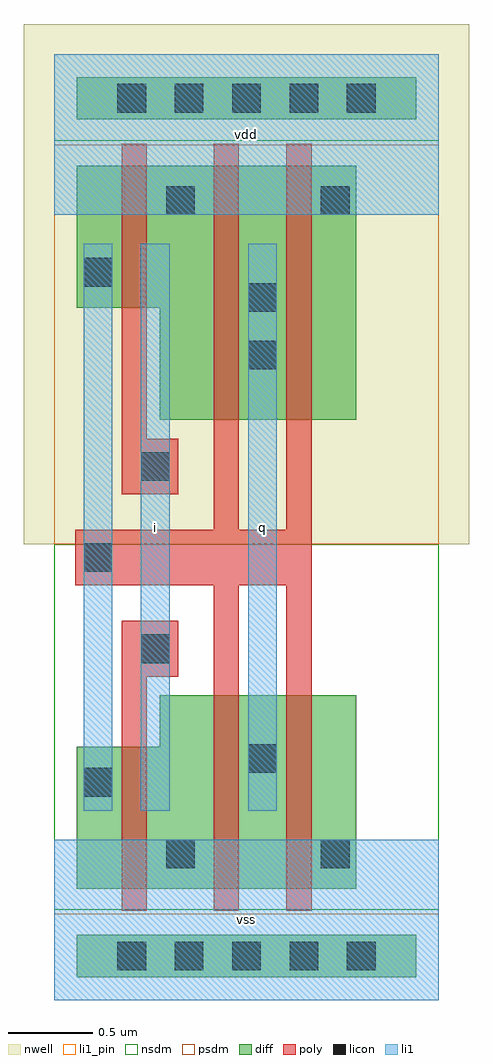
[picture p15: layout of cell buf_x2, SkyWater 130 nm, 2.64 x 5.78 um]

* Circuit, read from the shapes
.subckt buf_x2 i q vdd vss
XM1 vss i n1 VSUBS sky130_fd_pr__nfet_01v8 w=0.84 l=0.15
XM2 q n1 vss VSUBS sky130_fd_pr__nfet_01v8 w=1.145 l=0.15 m=2
XM3 vdd i n1 n2 sky130_fd_pr__pfet_01v8 w=0.84 l=0.15
XM4 q n1 vdd n2 sky130_fd_pr__pfet_01v8 w=1.505 l=0.15 m=2
.ends

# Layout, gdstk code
import gdstk
lib = gdstk.Library(unit=1e-6, precision=1e-09)
def R(c, l, rs):  # rectangles x0, y0, x1, y1
    for r in rs: c.add(gdstk.rectangle(r[:2], r[2:], *l))
def A(c, l, x, y, w, h, nx, ny, dx, dy):  # array of equal rectangles
    R(c, l, [(x+i*dx, y+j*dy, x+i*dx+w, y+j*dy+h) for i in range(nx) for j in range(ny)])
def P(c, l, *ps):  # polygons
    for p in ps: c.add(gdstk.Polygon(p, *l))
nwell = (64, 20)
diff = (65, 20)
poly = (66, 20)
licon = (66, 44)
li1_pin = (67, 16)
li1 = (67, 20)
nsdm = (93, 44)
psdm = (94, 20)

buf_x2 = lib.new_cell('buf_x2')
R(buf_x2, nwell, [(-0.18,2.7,2.46,5.78)])
R(buf_x2, diff, [(0.135,0.135,2.145,0.385), (0.135,5.215,2.145,5.465)])
P(buf_x2, diff, [(0.135,0.66),(0.135,1.5),(0.625,1.5),(0.625,1.805),(1.79,1.805),(1.79,0.66)],
  [(0.625,3.435),(0.625,4.1),(0.135,4.1),(0.135,4.94),(1.79,4.94),(1.79,3.435)])
P(buf_x2, poly, [(0.945,0.53),(0.945,2.455),(0.125,2.455),(0.125,2.785),(0.945,2.785),(0.945,5.07),(1.095,5.07),(1.095,2.785),(1.375,2.785),(1.375,5.07),(1.525,5.07),(1.525,0.53),(1.375,0.53),(1.375,2.455),(1.095,2.455),(1.095,0.53)],
  [(0.4,2.995),(0.4,5.07),(0.55,5.07),(0.55,3.325),(0.735,3.325),(0.735,2.995)],
  [(0.4,0.53),(0.4,2.245),(0.735,2.245),(0.735,1.915),(0.55,1.915),(0.55,0.53)])
A(buf_x2, licon, 0.375, 0.175, 0.17, 0.17, 5, 2, 0.34, 5.08)
R(buf_x2, licon, [(0.665,0.78,0.835,0.95), (1.58,0.78,1.75,0.95), (0.175,1.205,0.345,1.375), (1.15,1.345,1.32,1.515), (0.515,1.995,0.685,2.165), (0.175,2.535,0.345,2.705), (0.515,3.075,0.685,3.245), (1.15,3.735,1.32,3.905), (1.15,4.075,1.32,4.245), (0.175,4.225,0.345,4.395), (0.665,4.65,0.835,4.82), (1.58,4.65,1.75,4.82)])
R(buf_x2, li1_pin, [(0,0,2.28,0.95), (0.515,1.12,0.685,4.48), (1.15,1.12,1.32,4.48), (0,4.65,2.28,5.6)])
R(buf_x2, li1, [(0,0,2.28,0.95), (0.175,1.12,0.345,4.48), (0.515,1.12,0.685,4.48), (1.15,1.12,1.32,4.48), (0,4.65,2.28,5.6)])
R(buf_x2, nsdm, [(0,0.535,2.28,2.7), (0,5.09,2.28,5.6)])
R(buf_x2, psdm, [(0,0,2.28,0.51), (0,2.7,2.28,5.065)])
buf_x2.add(gdstk.Label('vdd', (1.14,5.125), layer=67, texttype=16))
buf_x2.add(gdstk.Label('vss', (1.14,0.475), layer=67, texttype=16))
buf_x2.add(gdstk.Label('i', (0.6,2.8), layer=67, texttype=16))
buf_x2.add(gdstk.Label('q', (1.235,2.8), layer=67, texttype=16))

lib.write_gds('buf_x2.gds')
